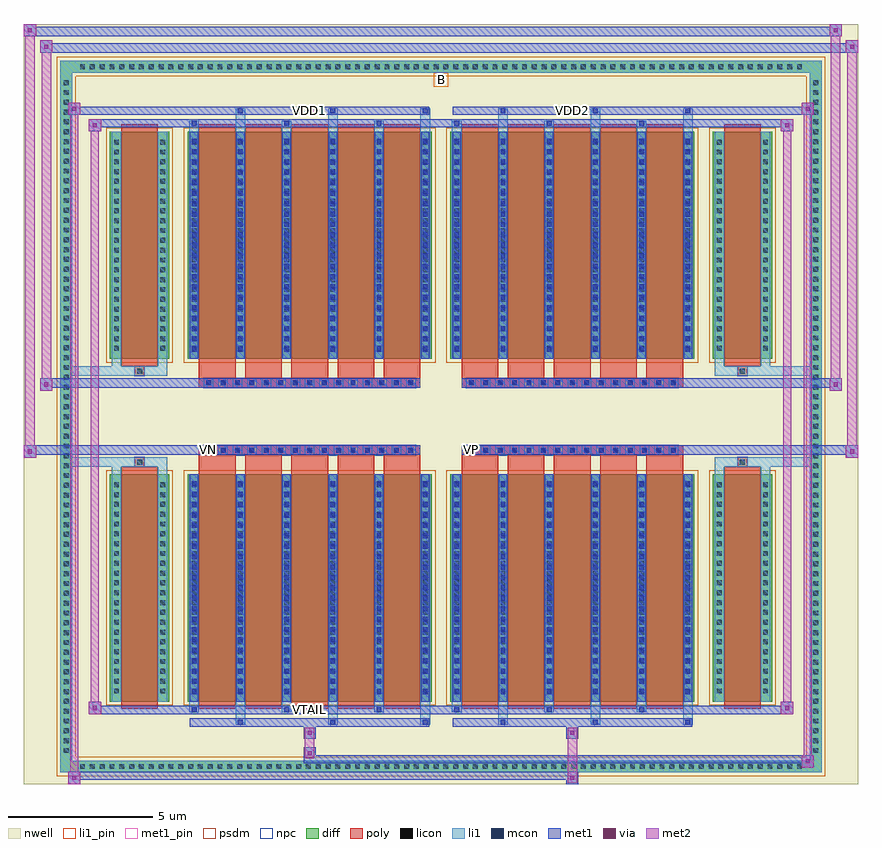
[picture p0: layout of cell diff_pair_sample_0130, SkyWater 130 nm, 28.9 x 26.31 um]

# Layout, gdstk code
import gdstk
lib = gdstk.Library(unit=1e-6, precision=5e-09)
def R(c, l, rs):  # rectangles x0, y0, x1, y1
    for r in rs: c.add(gdstk.rectangle(r[:2], r[2:], *l))
def A(c, l, x, y, w, h, nx, ny, dx, dy):  # array of equal rectangles
    R(c, l, [(x+i*dx, y+j*dy, x+i*dx+w, y+j*dy+h) for i in range(nx) for j in range(ny)])
def P(c, l, *ps):  # polygons
    for p in ps: c.add(gdstk.Polygon(p, *l))
nwell = (64, 20)
diff = (65, 20)
poly = (66, 20)
licon = (66, 44)
li1_pin = (67, 16)
li1 = (67, 20)
mcon = (67, 44)
met1_pin = (68, 16)
met1 = (68, 20)
via = (68, 44)
met2 = (69, 20)
psdm = (94, 20)
npc = (95, 20)

diff_pair_sample_0130 = lib.new_cell('diff_pair_sample_0130')
R(diff_pair_sample_0130, nwell, [(-14.45,-12.72,14.45,13.59), (-11.77,-10.91,-0.01,-0.8), (0.01,-10.91,11.77,-0.8), (-11.77,0.8,-0.01,10.91), (0.01,0.8,11.77,10.91)])
A(diff_pair_sample_0130, diff, -12.615, -12.32, 0.41, 0.41, 74, 2, 0.34, 24.23)
A(diff_pair_sample_0130, diff, -13.18, -11.765, 0.41, 0.41, 1, 69, 0, 0.34)
A(diff_pair_sample_0130, diff, 12.77, -11.765, 0.41, 0.41, 1, 69, 0, 0.34)
R(diff_pair_sample_0130, diff, [(-12.615,-12.32,12.615,-11.91), (-13.18,-11.765,-12.77,11.765), (12.77,-11.765,13.18,11.765), (-11.46,-9.865,-9.41,-1.995), (-8.77,-9.865,-0.32,-1.995), (0.32,-9.865,8.77,-1.995), (9.41,-9.865,11.46,-1.995), (-11.46,1.995,-9.41,9.865), (-8.77,1.995,-0.32,9.865), (0.32,1.995,8.77,9.865), (9.41,1.995,11.46,9.865), (-12.615,11.91,12.615,12.32)])
P(diff_pair_sample_0130, diff, [(13.18,12.32),(-13.18,12.32),(-13.18,-11.91),(-12.77,-11.91),(-12.77,11.91),(12.77,11.91),(12.77,-11.91),(-12.77,-11.91),(-13.18,-11.91),(-13.18,-12.32),(13.18,-12.32)])
A(diff_pair_sample_0130, poly, -8.38, -10.12, 1.27, 8.38, 5, 2, 1.6, 11.86)
A(diff_pair_sample_0130, poly, 0.71, -10.12, 1.27, 8.38, 5, 2, 1.6, 11.86)
A(diff_pair_sample_0130, poly, -8.38, -1.74, 1.27, 0.41, 5, 2, 1.6, 3.07)
A(diff_pair_sample_0130, poly, 0.71, -1.74, 1.27, 0.41, 5, 2, 1.6, 3.07)
A(diff_pair_sample_0130, poly, -8.21, -1.33, 0.33, 0.33, 15, 2, 0.5, 2.33)
A(diff_pair_sample_0130, poly, 0.88, -1.33, 0.33, 0.33, 15, 2, 0.5, 2.33)
R(diff_pair_sample_0130, poly, [(-11.07,-10.12,-9.8,-1.74), (9.8,-10.12,11.07,-1.74), (-10.6,-1.74,-10.27,-1.41), (-10.6,-1.74,-10.27,-1.41), (10.27,-1.74,10.6,-1.41), (10.27,-1.74,10.6,-1.41), (-8.38,-1.33,-0.71,-1), (0.71,-1.33,8.38,-1), (-8.38,1,-0.71,1.33), (0.71,1,8.38,1.33), (-10.6,1.41,-10.27,1.74), (-10.6,1.41,-10.27,1.74), (10.27,1.41,10.6,1.74), (10.27,1.41,10.6,1.74), (-11.07,1.74,-9.8,10.12), (9.8,1.74,11.07,10.12)])
A(diff_pair_sample_0130, licon, -12.495, -12.2, 0.17, 0.17, 74, 2, 0.34, 24.23)
A(diff_pair_sample_0130, licon, -13.06, -11.645, 0.17, 0.17, 1, 69, 0, 0.34)
A(diff_pair_sample_0130, licon, 12.89, -11.645, 0.17, 0.17, 1, 69, 0, 0.34)
A(diff_pair_sample_0130, licon, -11.32, -9.585, 0.17, 0.17, 1, 22, 0, 0.34)
A(diff_pair_sample_0130, licon, -9.72, -9.585, 0.17, 0.17, 1, 22, 0, 0.34)
A(diff_pair_sample_0130, licon, -8.63, -9.585, 0.17, 0.17, 6, 22, 1.6, 0.34)
A(diff_pair_sample_0130, licon, 0.46, -9.585, 0.17, 0.17, 6, 22, 1.6, 0.34)
A(diff_pair_sample_0130, licon, 9.55, -9.585, 0.17, 0.17, 1, 22, 0, 0.34)
A(diff_pair_sample_0130, licon, 11.15, -9.585, 0.17, 0.17, 1, 22, 0, 0.34)
A(diff_pair_sample_0130, licon, -8.13, -1.25, 0.17, 0.17, 15, 2, 0.5, 2.33)
A(diff_pair_sample_0130, licon, 0.96, -1.25, 0.17, 0.17, 15, 2, 0.5, 2.33)
A(diff_pair_sample_0130, licon, -11.32, 2.275, 0.17, 0.17, 1, 22, 0, 0.34)
A(diff_pair_sample_0130, licon, -9.72, 2.275, 0.17, 0.17, 1, 22, 0, 0.34)
A(diff_pair_sample_0130, licon, -8.63, 2.275, 0.17, 0.17, 6, 22, 1.6, 0.34)
A(diff_pair_sample_0130, licon, 0.46, 2.275, 0.17, 0.17, 6, 22, 1.6, 0.34)
A(diff_pair_sample_0130, licon, 9.55, 2.275, 0.17, 0.17, 1, 22, 0, 0.34)
A(diff_pair_sample_0130, licon, 11.15, 2.275, 0.17, 0.17, 1, 22, 0, 0.34)
R(diff_pair_sample_0130, licon, [(-10.52,-1.66,-10.35,-1.49), (10.35,-1.66,10.52,-1.49), (-10.52,1.49,-10.35,1.66), (10.35,1.49,10.52,1.66)])
R(diff_pair_sample_0130, li1_pin, [(-0.25,11.41,0.25,11.91)])
A(diff_pair_sample_0130, li1, -12.575, -12.28, 0.33, 0.33, 74, 2, 0.34, 24.23)
A(diff_pair_sample_0130, li1, -13.14, -11.725, 0.33, 0.33, 1, 69, 0, 0.34)
A(diff_pair_sample_0130, li1, 12.81, -11.725, 0.33, 0.33, 1, 69, 0, 0.34)
A(diff_pair_sample_0130, li1, -7.11, -10.67, 0.33, 0.805, 3, 2, 3.2, 20.535)
A(diff_pair_sample_0130, li1, -7.03, -10.67, 0.17, 0.17, 3, 2, 3.2, 21.17)
A(diff_pair_sample_0130, li1, 1.98, -10.67, 0.33, 0.805, 3, 2, 3.2, 20.535)
A(diff_pair_sample_0130, li1, 2.06, -10.67, 0.17, 0.17, 3, 2, 3.2, 21.17)
A(diff_pair_sample_0130, li1, -8.71, -10.24, 0.33, 0.375, 3, 2, 3.2, 20.105)
A(diff_pair_sample_0130, li1, -8.63, -10.24, 0.17, 0.17, 3, 2, 3.2, 20.31)
A(diff_pair_sample_0130, li1, 0.38, -10.24, 0.33, 0.375, 3, 2, 3.2, 20.105)
A(diff_pair_sample_0130, li1, 0.46, -10.24, 0.17, 0.17, 3, 2, 3.2, 20.31)
A(diff_pair_sample_0130, li1, -8.71, -9.865, 0.33, 7.87, 6, 2, 1.6, 11.86)
A(diff_pair_sample_0130, li1, 0.38, -9.865, 0.33, 7.87, 6, 2, 1.6, 11.86)
A(diff_pair_sample_0130, li1, -11.4, -9.665, 0.33, 0.33, 1, 22, 0, 0.34)
A(diff_pair_sample_0130, li1, -9.8, -9.665, 0.33, 0.33, 1, 22, 0, 0.34)
A(diff_pair_sample_0130, li1, -8.71, -9.665, 0.33, 0.33, 6, 22, 1.6, 0.34)
A(diff_pair_sample_0130, li1, 0.38, -9.665, 0.33, 0.33, 6, 22, 1.6, 0.34)
A(diff_pair_sample_0130, li1, 9.47, -9.665, 0.33, 0.33, 1, 22, 0, 0.34)
A(diff_pair_sample_0130, li1, 11.07, -9.665, 0.33, 0.33, 1, 22, 0, 0.34)
A(diff_pair_sample_0130, li1, -8.63, -9.615, 0.17, 0.17, 6, 21, 1.6, 0.36)
A(diff_pair_sample_0130, li1, -8.63, -9.615, 0.17, 7.37, 6, 2, 1.6, 11.86)
A(diff_pair_sample_0130, li1, 0.46, -9.615, 0.17, 0.17, 6, 21, 1.6, 0.36)
A(diff_pair_sample_0130, li1, 0.46, -9.615, 0.17, 7.37, 6, 2, 1.6, 11.86)
A(diff_pair_sample_0130, li1, -8.21, -1.33, 0.33, 0.33, 15, 2, 0.5, 2.33)
A(diff_pair_sample_0130, li1, 0.88, -1.33, 0.33, 0.33, 15, 2, 0.5, 2.33)
A(diff_pair_sample_0130, li1, -11.4, 2.195, 0.33, 0.33, 1, 22, 0, 0.34)
A(diff_pair_sample_0130, li1, -9.8, 2.195, 0.33, 0.33, 1, 22, 0, 0.34)
A(diff_pair_sample_0130, li1, -8.71, 2.195, 0.33, 0.33, 6, 22, 1.6, 0.34)
A(diff_pair_sample_0130, li1, 0.38, 2.195, 0.33, 0.33, 6, 22, 1.6, 0.34)
A(diff_pair_sample_0130, li1, 9.47, 2.195, 0.33, 0.33, 1, 22, 0, 0.34)
A(diff_pair_sample_0130, li1, 11.07, 2.195, 0.33, 0.33, 1, 22, 0, 0.34)
A(diff_pair_sample_0130, li1, -8.63, 2.245, 0.17, 0.17, 6, 21, 1.6, 0.36)
A(diff_pair_sample_0130, li1, 0.46, 2.245, 0.17, 0.17, 6, 21, 1.6, 0.36)
R(diff_pair_sample_0130, li1, [(-13.18,-12.32,-12.77,-11.91), (-13.18,-12.32,-12.77,-11.91), (-12.77,-12.32,12.77,-11.91), (12.77,-12.32,13.18,-11.91), (12.77,-12.32,13.18,-11.91), (-13.18,-11.91,-12.77,11.91), (12.77,-11.91,13.18,11.91), (-11.4,-9.865,-11.07,-1.995), (-9.8,-9.865,-9.47,-1.995), (9.47,-9.865,9.8,-1.995), (11.07,-9.865,11.4,-1.995), (-11.4,-1.995,-11.07,-1.41), (-9.8,-1.995,-9.47,-1.41), (9.47,-1.995,9.8,-1.41), (11.07,-1.995,11.4,-1.41), (-13.18,-1.74,-10.6,-1.41), (-11.4,-1.74,-10.6,-1.41), (-10.6,-1.74,-10.27,-1.41), (-10.27,-1.74,-9.47,-1.41), (9.47,-1.74,10.27,-1.41), (10.27,-1.74,10.6,-1.41), (10.27,-1.74,13.18,-1.41), (10.6,-1.74,11.4,-1.41), (-13.18,1.41,-10.6,1.74), (-11.4,1.41,-10.6,1.74), (-11.4,1.41,-11.07,1.995), (-10.6,1.41,-10.27,1.74), (-10.27,1.41,-9.47,1.74), (-9.8,1.41,-9.47,1.995), (9.47,1.41,10.27,1.74), (9.47,1.41,9.8,1.995), (10.27,1.41,10.6,1.74), (10.27,1.41,13.18,1.74), (10.6,1.41,11.4,1.74), (11.07,1.41,11.4,1.995), (-11.4,1.995,-11.07,9.865), (-9.8,1.995,-9.47,9.865), (9.47,1.995,9.8,9.865), (11.07,1.995,11.4,9.865), (-13.18,11.91,-12.77,12.32), (-13.18,11.91,-12.77,12.32), (-12.77,11.91,12.77,12.32), (12.77,11.91,13.18,12.32), (12.77,11.91,13.18,12.32)])
A(diff_pair_sample_0130, mcon, -7.03, -10.67, 0.17, 0.17, 3, 2, 3.2, 21.17)
A(diff_pair_sample_0130, mcon, 2.06, -10.67, 0.17, 0.17, 3, 2, 3.2, 21.17)
A(diff_pair_sample_0130, mcon, -8.63, -10.24, 0.17, 0.17, 3, 2, 3.2, 20.31)
A(diff_pair_sample_0130, mcon, 0.46, -10.24, 0.17, 0.17, 3, 2, 3.2, 20.31)
A(diff_pair_sample_0130, mcon, -8.63, -9.615, 0.17, 0.17, 6, 21, 1.6, 0.36)
A(diff_pair_sample_0130, mcon, 0.46, -9.615, 0.17, 0.17, 6, 21, 1.6, 0.36)
A(diff_pair_sample_0130, mcon, -8.13, -1.25, 0.17, 0.17, 15, 2, 0.5, 2.33)
A(diff_pair_sample_0130, mcon, 0.96, -1.25, 0.17, 0.17, 15, 2, 0.5, 2.33)
A(diff_pair_sample_0130, mcon, -8.63, 2.245, 0.17, 0.17, 6, 21, 1.6, 0.36)
A(diff_pair_sample_0130, mcon, 0.46, 2.245, 0.17, 0.17, 6, 21, 1.6, 0.36)
R(diff_pair_sample_0130, met1_pin, [(-4.68,-10.28,-4.41,-10.01), (-8.18,-1.29,-7.91,-1.02), (0.91,-1.29,1.18,-1.02), (-4.68,10.46,-4.41,10.73), (4.41,10.46,4.68,10.73)])
A(diff_pair_sample_0130, met1, -7.09, -10.73, 0.29, 0.29, 3, 2, 3.2, 21.17)
A(diff_pair_sample_0130, met1, 2, -10.73, 0.29, 0.29, 3, 2, 3.2, 21.17)
A(diff_pair_sample_0130, met1, -8.69, -10.3, 0.29, 0.29, 3, 2, 3.2, 20.31)
A(diff_pair_sample_0130, met1, 0.4, -10.3, 0.29, 0.29, 3, 2, 3.2, 20.31)
A(diff_pair_sample_0130, met1, -8.69, -9.865, 0.29, 7.87, 6, 2, 1.6, 11.86)
A(diff_pair_sample_0130, met1, 0.4, -9.865, 0.29, 7.87, 6, 2, 1.6, 11.86)
A(diff_pair_sample_0130, met1, -8.69, -9.675, 0.29, 0.29, 6, 21, 1.6, 0.36)
A(diff_pair_sample_0130, met1, 0.4, -9.675, 0.29, 0.29, 6, 21, 1.6, 0.36)
A(diff_pair_sample_0130, met1, -8.19, -1.31, 0.29, 0.29, 15, 2, 0.5, 2.33)
A(diff_pair_sample_0130, met1, 0.9, -1.31, 0.29, 0.29, 15, 2, 0.5, 2.33)
A(diff_pair_sample_0130, met1, -8.69, 2.185, 0.29, 0.29, 6, 21, 1.6, 0.36)
A(diff_pair_sample_0130, met1, 0.4, 2.185, 0.29, 0.29, 6, 21, 1.6, 0.36)
R(diff_pair_sample_0130, met1, [(-12.91,-12.72,-12.48,-12.29), (4.33,-12.72,4.76,-12.29), (-12.91,-12.58,4.76,-12.29), (12.48,-12.15,12.91,-11.72), (-4.76,-12.01,12.91,-11.72), (-4.76,-11.87,-4.33,-11.44), (-4.76,-11.16,-4.33,-10.73), (4.33,-11.16,4.76,-10.73), (-8.69,-10.73,-0.4,-10.44), (0.4,-10.73,8.69,-10.44), (-12.2,-10.3,-11.77,-9.87), (-12.2,-10.3,-8.69,-10.01), (-8.69,-10.3,-0.4,-10.01), (-0.4,-10.3,0.4,-10.01), (0.4,-10.3,8.69,-10.01), (8.69,-10.3,12.2,-10.01), (11.77,-10.3,12.2,-9.87), (-14.45,-1.43,-14.02,-1), (14.02,-1.43,14.45,-1), (-14.45,-1.33,-0.71,-1), (-8.38,-1.33,-0.71,-1), (0.71,-1.33,8.38,-1), (0.71,-1.33,14.45,-1), (-13.88,0.9,-13.45,1.33), (13.45,0.9,13.88,1.33), (-13.88,1,-8.38,1.33), (-8.38,1,-0.71,1.33), (0.71,1,8.38,1.33), (8.38,1,13.88,1.33), (-12.2,9.87,-11.77,10.3), (11.77,9.87,12.2,10.3), (-12.2,10.01,-8.69,10.3), (-8.69,10.01,-0.4,10.3), (-0.4,10.01,0.4,10.3), (0.4,10.01,8.69,10.3), (8.69,10.01,12.2,10.3), (-12.91,10.44,-12.48,10.87), (-12.91,10.44,-8.69,10.73), (-8.69,10.44,-0.4,10.73), (0.4,10.44,8.69,10.73), (8.69,10.44,12.91,10.73), (12.48,10.44,12.91,10.87), (-13.88,12.59,-13.45,13.02), (-13.88,12.59,-11.77,12.92), (-11.77,12.59,11.77,12.92), (11.77,12.59,14.45,12.92), (14.02,12.59,14.45,13.02), (-14.45,13.16,-14.02,13.59), (-14.45,13.16,-11.77,13.49), (-11.77,13.16,11.77,13.49), (11.77,13.16,13.88,13.49), (13.45,13.16,13.88,13.59)])
R(diff_pair_sample_0130, via, [(-12.77,-12.58,-12.62,-12.43), (4.47,-12.58,4.62,-12.43), (12.62,-12.01,12.77,-11.86), (-4.62,-11.73,-4.47,-11.58), (-4.62,-11.02,-4.47,-10.87), (4.47,-11.02,4.62,-10.87), (-12.06,-10.16,-11.91,-10.01), (11.91,-10.16,12.06,-10.01), (-14.31,-1.29,-14.16,-1.14), (14.16,-1.29,14.31,-1.14), (-13.74,1.04,-13.59,1.19), (13.59,1.04,13.74,1.19), (-12.06,10.01,-11.91,10.16), (11.91,10.01,12.06,10.16), (-12.77,10.58,-12.62,10.73), (12.62,10.58,12.77,10.73), (-13.74,12.73,-13.59,12.88), (14.16,12.73,14.31,12.88), (-14.31,13.3,-14.16,13.45), (13.59,13.3,13.74,13.45)])
R(diff_pair_sample_0130, met2, [(-12.91,-12.72,-12.48,-12.29), (-12.84,-12.72,-12.55,10.87), (-12.55,-12.72,-12.48,-12.29), (-12.86,-12.67,-12.53,-12.34), (4.38,-12.67,4.71,-12.34), (4.38,-12.34,4.71,-11.11), (12.48,-12.15,12.91,-11.72), (12.55,-12.15,12.84,10.87), (12.84,-12.15,12.91,-11.72), (12.53,-12.1,12.86,-11.77), (-4.71,-11.82,-4.38,-11.49), (-4.71,-11.49,-4.38,-11.11), (-4.71,-11.11,-4.38,-10.78), (4.38,-11.11,4.71,-10.78), (-12.2,-10.3,-11.77,-9.87), (-12.13,-10.3,-11.84,10.3), (-11.84,-10.3,-11.77,-9.87), (11.77,-10.3,12.2,-9.87), (11.84,-10.3,12.13,10.3), (12.13,-10.3,12.2,-9.87), (-12.15,-10.25,-11.82,-9.92), (11.82,-10.25,12.15,-9.92), (-14.45,-1.43,-14.02,-1), (-14.4,-1.43,-14.07,13.59), (-14.07,-1.43,-14.02,-1), (14.02,-1.43,14.45,-1), (14.07,-1.43,14.4,13.02), (14.4,-1.43,14.45,-1), (-14.4,-1.38,-14.07,-1.05), (14.07,-1.38,14.4,-1.05), (-13.88,0.9,-13.45,1.33), (-13.83,0.9,-13.5,13.02), (-13.5,0.9,-13.45,1.33), (13.45,0.9,13.88,1.33), (13.5,0.9,13.83,13.59), (13.83,0.9,13.88,1.33), (-13.83,0.95,-13.5,1.28), (13.5,0.95,13.83,1.28), (-12.2,9.87,-11.77,10.3), (-11.84,9.87,-11.77,10.3), (11.77,9.87,12.2,10.3), (12.13,9.87,12.2,10.3), (-12.15,9.92,-11.82,10.25), (11.82,9.92,12.15,10.25), (-12.91,10.44,-12.48,10.87), (-12.55,10.44,-12.48,10.87), (12.48,10.44,12.91,10.87), (12.84,10.44,12.91,10.87), (-12.86,10.49,-12.53,10.82), (12.53,10.49,12.86,10.82), (-13.88,12.59,-13.45,13.02), (-13.5,12.59,-13.45,13.02), (14.02,12.59,14.45,13.02), (14.4,12.59,14.45,13.02), (-13.83,12.64,-13.5,12.97), (14.07,12.64,14.4,12.97), (-14.45,13.16,-14.02,13.59), (-14.07,13.16,-14.02,13.59), (13.45,13.16,13.88,13.59), (13.83,13.16,13.88,13.59), (-14.4,13.21,-14.07,13.54), (13.5,13.21,13.83,13.54)])
R(diff_pair_sample_0130, psdm, [(-11.59,-9.995,-9.28,-1.865), (-8.9,-9.995,-0.19,-1.865), (0.19,-9.995,8.9,-1.865), (9.28,-9.995,11.59,-1.865), (-11.59,1.865,-9.28,9.995), (-8.9,1.865,-0.19,9.995), (0.19,1.865,8.9,9.995), (9.28,1.865,11.59,9.995)])
P(diff_pair_sample_0130, psdm, [(13.31,12.45),(-13.31,12.45),(-13.31,-11.78),(-12.64,-11.78),(-12.64,11.78),(12.64,11.78),(12.64,-11.78),(-12.64,-11.78),(-13.31,-11.78),(-13.31,-12.45),(13.31,-12.45)])
A(diff_pair_sample_0130, npc, -8.23, -1.35, 0.37, 0.37, 15, 2, 0.5, 2.33)
A(diff_pair_sample_0130, npc, 0.86, -1.35, 0.37, 0.37, 15, 2, 0.5, 2.33)
R(diff_pair_sample_0130, npc, [(-10.62,-1.76,-10.25,-1.39), (10.25,-1.76,10.62,-1.39), (-8.23,-1.35,-7.36,-0.98), (-8.23,-1.35,-7.36,-0.98), (-7.73,-1.35,-6.86,-0.98), (-7.73,-1.35,-6.86,-0.98), (-7.23,-1.35,-6.36,-0.98), (-7.23,-1.35,-6.36,-0.98), (-6.73,-1.35,-5.86,-0.98), (-6.73,-1.35,-5.86,-0.98), (-6.23,-1.35,-5.36,-0.98), (-6.23,-1.35,-5.36,-0.98), (-5.73,-1.35,-4.86,-0.98), (-5.73,-1.35,-4.86,-0.98), (-5.23,-1.35,-4.36,-0.98), (-5.23,-1.35,-4.36,-0.98), (-4.73,-1.35,-3.86,-0.98), (-4.73,-1.35,-3.86,-0.98), (-4.23,-1.35,-3.36,-0.98), (-4.23,-1.35,-3.36,-0.98), (-3.73,-1.35,-2.86,-0.98), (-3.73,-1.35,-2.86,-0.98), (-3.23,-1.35,-2.36,-0.98), (-3.23,-1.35,-2.36,-0.98), (-2.73,-1.35,-1.86,-0.98), (-2.73,-1.35,-1.86,-0.98), (-2.23,-1.35,-1.36,-0.98), (-2.23,-1.35,-1.36,-0.98), (-1.73,-1.35,-0.86,-0.98), (-1.73,-1.35,-0.86,-0.98), (0.86,-1.35,1.73,-0.98), (0.86,-1.35,1.73,-0.98), (1.36,-1.35,2.23,-0.98), (1.36,-1.35,2.23,-0.98), (1.86,-1.35,2.73,-0.98), (1.86,-1.35,2.73,-0.98), (2.36,-1.35,3.23,-0.98), (2.36,-1.35,3.23,-0.98), (2.86,-1.35,3.73,-0.98), (2.86,-1.35,3.73,-0.98), (3.36,-1.35,4.23,-0.98), (3.36,-1.35,4.23,-0.98), (3.86,-1.35,4.73,-0.98), (3.86,-1.35,4.73,-0.98), (4.36,-1.35,5.23,-0.98), (4.36,-1.35,5.23,-0.98), (4.86,-1.35,5.73,-0.98), (4.86,-1.35,5.73,-0.98), (5.36,-1.35,6.23,-0.98), (5.36,-1.35,6.23,-0.98), (5.86,-1.35,6.73,-0.98), (5.86,-1.35,6.73,-0.98), (6.36,-1.35,7.23,-0.98), (6.36,-1.35,7.23,-0.98), (6.86,-1.35,7.73,-0.98), (6.86,-1.35,7.73,-0.98), (7.36,-1.35,8.23,-0.98), (7.36,-1.35,8.23,-0.98), (-8.23,0.98,-7.36,1.35), (-8.23,0.98,-7.36,1.35), (-7.73,0.98,-6.86,1.35), (-7.73,0.98,-6.86,1.35), (-7.23,0.98,-6.36,1.35), (-7.23,0.98,-6.36,1.35), (-6.73,0.98,-5.86,1.35), (-6.73,0.98,-5.86,1.35), (-6.23,0.98,-5.36,1.35), (-6.23,0.98,-5.36,1.35), (-5.73,0.98,-4.86,1.35), (-5.73,0.98,-4.86,1.35), (-5.23,0.98,-4.36,1.35), (-5.23,0.98,-4.36,1.35), (-4.73,0.98,-3.86,1.35), (-4.73,0.98,-3.86,1.35), (-4.23,0.98,-3.36,1.35), (-4.23,0.98,-3.36,1.35), (-3.73,0.98,-2.86,1.35), (-3.73,0.98,-2.86,1.35), (-3.23,0.98,-2.36,1.35), (-3.23,0.98,-2.36,1.35), (-2.73,0.98,-1.86,1.35), (-2.73,0.98,-1.86,1.35), (-2.23,0.98,-1.36,1.35), (-2.23,0.98,-1.36,1.35), (-1.73,0.98,-0.86,1.35), (-1.73,0.98,-0.86,1.35), (0.86,0.98,1.73,1.35), (0.86,0.98,1.73,1.35), (1.36,0.98,2.23,1.35), (1.36,0.98,2.23,1.35), (1.86,0.98,2.73,1.35), (1.86,0.98,2.73,1.35), (2.36,0.98,3.23,1.35), (2.36,0.98,3.23,1.35), (2.86,0.98,3.73,1.35), (2.86,0.98,3.73,1.35), (3.36,0.98,4.23,1.35), (3.36,0.98,4.23,1.35), (3.86,0.98,4.73,1.35), (3.86,0.98,4.73,1.35), (4.36,0.98,5.23,1.35), (4.36,0.98,5.23,1.35), (4.86,0.98,5.73,1.35), (4.86,0.98,5.73,1.35), (5.36,0.98,6.23,1.35), (5.36,0.98,6.23,1.35), (5.86,0.98,6.73,1.35), (5.86,0.98,6.73,1.35), (6.36,0.98,7.23,1.35), (6.36,0.98,7.23,1.35), (6.86,0.98,7.73,1.35), (6.86,0.98,7.73,1.35), (7.36,0.98,8.23,1.35), (7.36,0.98,8.23,1.35), (-10.62,1.39,-10.25,1.76), (10.25,1.39,10.62,1.76)])
diff_pair_sample_0130.add(gdstk.Label('VTAIL', (-4.545,-10.145), layer=68, texttype=5))
diff_pair_sample_0130.add(gdstk.Label('VN', (-8.045,-1.155), layer=68, texttype=5))
diff_pair_sample_0130.add(gdstk.Label('VP', (1.045,-1.155), layer=68, texttype=5))
diff_pair_sample_0130.add(gdstk.Label('B', (0,11.66), layer=67, texttype=5))
diff_pair_sample_0130.add(gdstk.Label('VDD2', (4.545,10.595), layer=68, texttype=5))
diff_pair_sample_0130.add(gdstk.Label('VDD1', (-4.545,10.595), layer=68, texttype=5))

lib.write_gds('diff_pair_sample_0130.gds')
